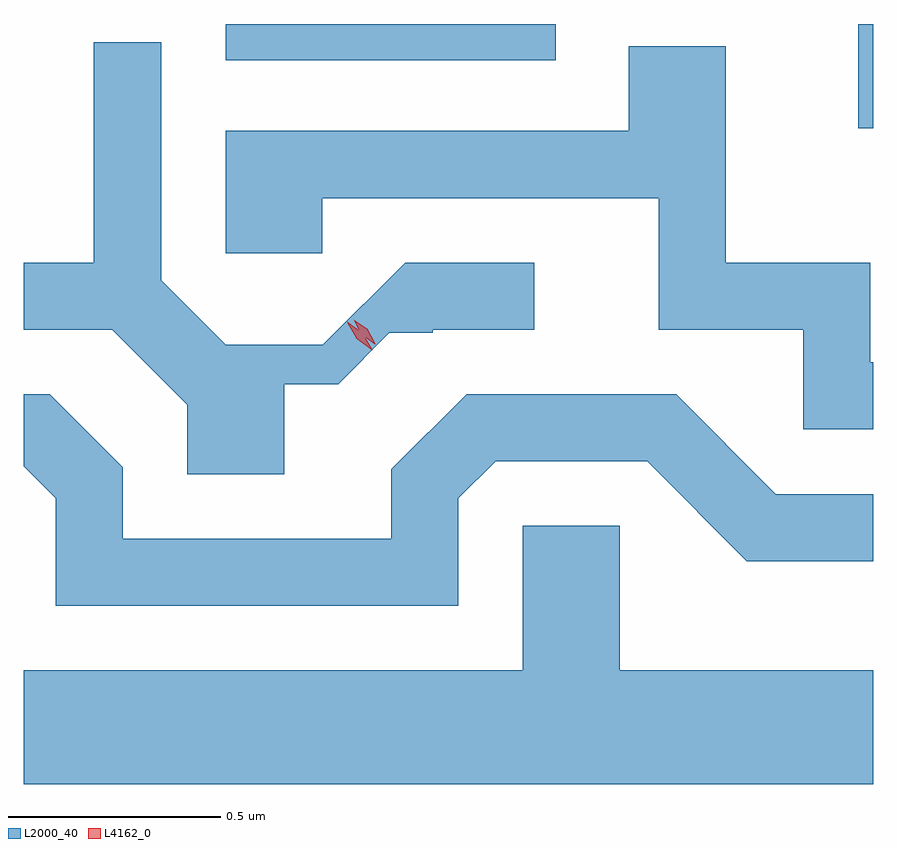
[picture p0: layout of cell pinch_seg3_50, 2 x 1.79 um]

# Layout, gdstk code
import gdstk
lib = gdstk.Library(unit=1e-6, precision=1e-09)
def R(c, l, rs):  # rectangles x0, y0, x1, y1
    for r in rs: c.add(gdstk.rectangle(r[:2], r[2:], *l))
def P(c, l, *ps):  # polygons
    for p in ps: c.add(gdstk.Polygon(p, *l))
L2000_40 = (2000, 40)
L4162_0 = (4162, 0)

pinch_seg3_50 = lib.new_cell('pinch_seg3_50')
R(pinch_seg3_50, L2000_40, [(1746.971,1129.781,1747.006,1130.026), (1745.481,1129.941,1746.259,1130.026)])
P(pinch_seg3_50, L2000_40, [(1745.619,1129.178),(1745.746,1129.178),(1745.867,1129.299),(1745.969,1129.299),(1745.969,1129.306),(1746.208,1129.306),(1746.208,1129.464),(1745.904,1129.464),(1745.71,1129.27),(1745.481,1129.27),(1745.329,1129.422),(1745.329,1129.983),(1745.171,1129.983),(1745.171,1129.464),(1745.006,1129.464),(1745.006,1129.306),(1745.214,1129.306),(1745.391,1129.129),(1745.391,1128.966),(1745.619,1128.966)],
  [(1747.006,1129.229),(1746.999,1129.229),(1746.999,1129.464),(1746.659,1129.464),(1746.659,1129.974),(1746.431,1129.974),(1746.431,1129.774),(1745.481,1129.774),(1745.481,1129.486),(1745.709,1129.486),(1745.709,1129.616),(1746.501,1129.616),(1746.501,1129.306),(1746.841,1129.306),(1746.841,1129.071),(1747.006,1129.071)],
  [(1746.029,1128.909),(1746.117,1128.996),(1746.474,1128.996),(1746.709,1128.761),(1747.006,1128.761),(1747.006,1128.919),(1746.777,1128.919),(1746.542,1129.154),(1746.049,1129.154),(1745.871,1128.977),(1745.871,1128.814),(1745.239,1128.814),(1745.239,1128.982),(1745.067,1129.154),(1745.006,1129.154),(1745.006,1128.984),(1745.081,1128.909),(1745.081,1128.656),(1746.029,1128.656)],
  [(1747.006,1128.504),(1746.409,1128.504),(1746.409,1128.844),(1746.181,1128.844),(1746.181,1128.504),(1745.006,1128.504),(1745.006,1128.236),(1747.006,1128.236)])
P(pinch_seg3_50, L4162_0, [(1745.826,1129.258),(1745.79,1129.285),(1745.767,1129.324),(1745.767,1129.325),(1745.768,1129.325),(1745.804,1129.298),(1745.826,1129.259),(1745.826,1129.258)],
  [(1745.832,1129.272),(1745.8,1129.295),(1745.783,1129.33),(1745.783,1129.33),(1745.783,1129.33),(1745.815,1129.308),(1745.833,1129.273),(1745.833,1129.272)])

lib.write_gds('pinch_seg3_50.gds')
